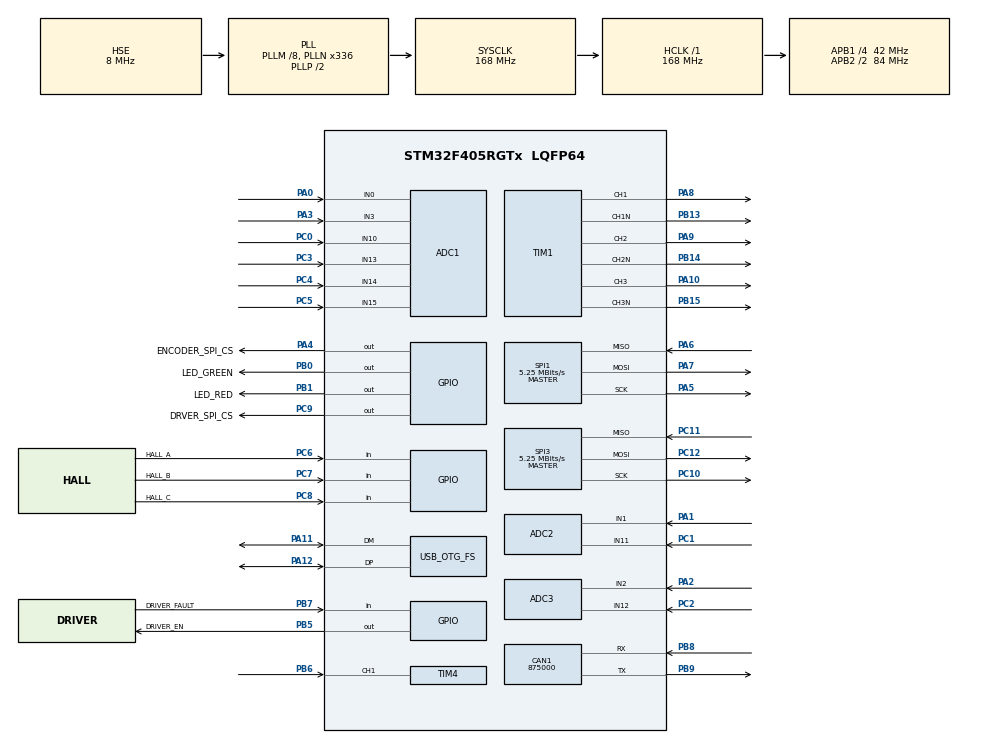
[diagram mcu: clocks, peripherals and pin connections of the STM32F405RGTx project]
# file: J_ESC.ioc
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ADC1.Channel-0\#ChannelRegularConversion=ADC_CHANNEL_3
ADC1.Channel-1\#ChannelInjectedConversion=ADC_CHANNEL_10
ADC1.Channel-2\#ChannelInjectedConversion=ADC_CHANNEL_0
ADC1.Channel-3\#ChannelRegularConversion=ADC_CHANNEL_13
ADC1.Channel-4\#ChannelRegularConversion=ADC_CHANNEL_14
ADC1.Channel-5\#ChannelRegularConversion=ADC_CHANNEL_15
ADC1.ContinuousConvMode=ENABLE
ADC1.DMAContinuousRequests=ENABLE
ADC1.EOCSelection=ADC_EOC_SEQ_CONV
ADC1.ExternalTrigInjecConv=ADC_EXTERNALTRIGINJECCONV_T8_CC4
ADC1.InjNumberOfConversion=2
ADC1.InjectedOffset-1\#ChannelInjectedConversion=0
ADC1.InjectedOffset-2\#ChannelInjectedConversion=0
ADC1.InjectedRank-1\#ChannelInjectedConversion=1
ADC1.InjectedRank-2\#ChannelInjectedConversion=2
ADC1.Mode=ADC_TRIPLEMODE_INJECSIMULT
ADC1.NbrOfConversion=4
ADC1.NbrOfConversionFlag=1
ADC1.Rank-0\#ChannelRegularConversion=1
ADC1.Rank-3\#ChannelRegularConversion=2
ADC1.Rank-4\#ChannelRegularConversion=3
ADC1.Rank-5\#ChannelRegularConversion=4
ADC1.SamplingTime-0\#ChannelRegularConversion=ADC_SAMPLETIME_15CYCLES
ADC1.SamplingTime-1\#ChannelInjectedConversion=ADC_SAMPLETIME_15CYCLES
ADC1.SamplingTime-2\#ChannelInjectedConversion=ADC_SAMPLETIME_15CYCLES
ADC1.SamplingTime-3\#ChannelRegularConversion=ADC_SAMPLETIME_15CYCLES
ADC1.SamplingTime-4\#ChannelRegularConversion=ADC_SAMPLETIME_15CYCLES
ADC1.SamplingTime-5\#ChannelRegularConversion=ADC_SAMPLETIME_15CYCLES
ADC1.ScanConvMode=ENABLE
ADC1.master=1
ADC2.Channel-0\#ChannelRegularConversion=ADC_CHANNEL_1
ADC2.Channel-1\#ChannelInjectedConversion=ADC_CHANNEL_11
ADC2.Channel-2\#ChannelInjectedConversion=ADC_CHANNEL_1
ADC2.DMAContinuousRequests=DISABLE
ADC2.EOCSelection=ADC_EOC_SEQ_CONV
ADC2.InjNumberOfConversion=2
ADC2.InjectedOffset-1\#ChannelInjectedConversion=0
ADC2.InjectedOffset-2\#ChannelInjectedConversion=0
ADC2.InjectedRank-1\#ChannelInjectedConversion=1
ADC2.InjectedRank-2\#ChannelInjectedConversion=2
ADC2.Mode=ADC_TRIPLEMODE_INJECSIMULT
ADC2.NbrOfConversionFlag=1
ADC2.Rank-0\#ChannelRegularConversion=1
ADC2.SamplingTime-0\#ChannelRegularConversion=ADC_SAMPLETIME_15CYCLES
ADC2.SamplingTime-1\#ChannelInjectedConversion=ADC_SAMPLETIME_15CYCLES
ADC2.SamplingTime-2\#ChannelInjectedConversion=ADC_SAMPLETIME_15CYCLES
ADC2.ScanConvMode=ENABLE
ADC3.Channel-0\#ChannelRegularConversion=ADC_CHANNEL_2
ADC3.Channel-1\#ChannelInjectedConversion=ADC_CHANNEL_12
ADC3.Channel-2\#ChannelInjectedConversion=ADC_CHANNEL_2
ADC3.DMAContinuousRequests=DISABLE
ADC3.EOCSelection=ADC_EOC_SEQ_CONV
ADC3.InjNumberOfConversion=2
ADC3.InjectedOffset-1\#ChannelInjectedConversion=0
ADC3.InjectedOffset-2\#ChannelInjectedConversion=0
ADC3.InjectedRank-1\#ChannelInjectedConversion=1
ADC3.InjectedRank-2\#ChannelInjectedConversion=2
ADC3.NbrOfConversion=1
ADC3.NbrOfConversionFlag=1
ADC3.Rank-0\#ChannelRegularConversion=1
ADC3.SamplingTime-0\#ChannelRegularConversion=ADC_SAMPLETIME_15CYCLES
ADC3.SamplingTime-1\#ChannelInjectedConversion=ADC_SAMPLETIME_15CYCLES
ADC3.SamplingTime-2\#ChannelInjectedConversion=ADC_SAMPLETIME_15CYCLES
ADC3.ScanConvMode=ENABLE
CAN1.CalculateBaudRate=875000
CAN1.CalculateTimeBit=1142
CAN1.CalculateTimeQuantum=380.95238095238096
Dma.ADC1.0.Direction=DMA_PERIPH_TO_MEMORY
Dma.ADC1.0.FIFOMode=DMA_FIFOMODE_DISABLE
Dma.ADC1.0.Instance=DMA2_Stream4
Dma.ADC1.0.MemDataAlignment=DMA_MDATAALIGN_HALFWORD
Dma.ADC1.0.MemInc=DMA_MINC_ENABLE
Dma.ADC1.0.Mode=DMA_CIRCULAR
Dma.ADC1.0.PeriphDataAlignment=DMA_PDATAALIGN_HALFWORD
Dma.ADC1.0.PeriphInc=DMA_PINC_DISABLE
Dma.ADC1.0.Priority=DMA_PRIORITY_LOW
Dma.Request0=ADC1
Mcu.Family=STM32F4
Mcu.Name=STM32F405RGTx
Mcu.Package=LQFP64
NVIC.ADC_IRQn=true\:0\:0\:false\:false\:true\:true\:true\:true
NVIC.DMA2_Stream4_IRQn=true\:3\:0\:false\:false\:true\:false\:true\:true
NVIC.OTG_FS_IRQn=true\:2\:0\:false\:false\:true\:false\:true\:true
NVIC.PriorityGroup=NVIC_PRIORITYGROUP_4
NVIC.TIM1_UP_TIM10_IRQn=true\:3\:0\:false\:false\:true\:true\:true\:true
NVIC.TIM2_IRQn=true\:1\:0\:false\:false\:true\:true\:true\:true
NVIC.TIM4_IRQn=true\:3\:0\:false\:false\:true\:true\:true\:true
NVIC.TIM8_UP_TIM13_IRQn=true\:3\:0\:false\:false\:true\:true\:true\:true
PA0-WKUP.Signal=ADCx_IN0
PA1.Signal=ADCx_IN1
PA10.Signal=S_TIM1_CH3
PA11.Mode=Device_Only
PA11.Signal=USB_OTG_FS_DM
PA12.Mode=Device_Only
PA12.Signal=USB_OTG_FS_DP
PA13.Mode=Serial_Wire
PA13.Signal=SYS_JTMS-SWDIO
PA14.Mode=Serial_Wire
PA14.Signal=SYS_JTCK-SWCLK
PA2.Signal=ADCx_IN2
PA3.Signal=ADCx_IN3
PA4.GPIO_Label=ENCODER_SPI_CS
PA4.PinState=GPIO_PIN_SET
PA4.Signal=GPIO_Output
PA5.Mode=Full_Duplex_Master
PA5.Signal=SPI1_SCK
PA6.Mode=Full_Duplex_Master
PA6.Signal=SPI1_MISO
PA7.Mode=Full_Duplex_Master
PA7.Signal=SPI1_MOSI
PA8.Signal=S_TIM1_CH1
PA9.Signal=S_TIM1_CH2
PB0.GPIO_Label=LED_GREEN
PB0.Signal=GPIO_Output
PB1.GPIO_Label=LED_RED
PB1.Signal=GPIO_Output
PB13.Mode=PWM Generation1 CH1 CH1N
PB13.Signal=TIM1_CH1N
PB14.Mode=PWM Generation2 CH2 CH2N
PB14.Signal=TIM1_CH2N
PB15.Mode=PWM Generation3 CH3 CH3N
PB15.Signal=TIM1_CH3N
PB5.GPIO_Label=DRIVER_EN
PB5.Signal=GPIO_Output
PB6.Signal=S_TIM4_CH1
PB7.GPIO_Label=DRIVER_FAULT
PB7.Signal=GPIO_Input
PB8.Mode=CAN_Activate
PB8.Signal=CAN1_RX
PB9.Mode=CAN_Activate
PB9.Signal=CAN1_TX
PC0.Signal=ADCx_IN10
PC1.Signal=ADCx_IN11
PC10.Mode=Full_Duplex_Master
PC10.Signal=SPI3_SCK
PC11.Mode=Full_Duplex_Master
PC11.Signal=SPI3_MISO
PC12.Mode=Full_Duplex_Master
PC12.Signal=SPI3_MOSI
PC2.Signal=ADCx_IN12
PC3.Signal=ADCx_IN13
PC4.Signal=ADCx_IN14
PC5.Signal=ADCx_IN15
PC6.GPIO_Label=HALL_A
PC6.Signal=GPIO_Input
PC7.GPIO_Label=HALL_B
PC7.Signal=GPIO_Input
PC8.GPIO_Label=HALL_C
PC8.Signal=GPIO_Input
PC9.GPIO_Label=DRVER_SPI_CS
PC9.PinState=GPIO_PIN_SET
PC9.Signal=GPIO_Output
PH0-OSC_IN.Mode=HSE-External-Oscillator
PH0-OSC_IN.Signal=RCC_OSC_IN
PH1-OSC_OUT.Mode=HSE-External-Oscillator
PH1-OSC_OUT.Signal=RCC_OSC_OUT
ProjectManager.HeapSize=0x200
ProjectManager.StackSize=0x400
ProjectManager.TargetToolchain=CMake
RCC.48MHZClocksFreq_Value=48000000
RCC.AHBFreq_Value=168000000
RCC.APB1CLKDivider=RCC_HCLK_DIV4
RCC.APB1Freq_Value=42000000
RCC.APB1TimFreq_Value=84000000
RCC.APB2CLKDivider=RCC_HCLK_DIV2
RCC.APB2Freq_Value=84000000
RCC.APB2TimFreq_Value=168000000
RCC.CortexFreq_Value=168000000
RCC.HCLKFreq_Value=168000000
RCC.HSE_VALUE=8000000
RCC.HSI_VALUE=16000000
RCC.LSE_VALUE=32768
RCC.PLLM=8
RCC.PLLN=336
RCC.PLLQ=7
RCC.SYSCLKFreq_VALUE=168000000
RCC.SYSCLKSource=RCC_SYSCLKSOURCE_PLLCLK
RCC.VCOOutputFreq_Value=336000000
SH.ADCx_IN0.0=ADC1_IN0,IN0
SH.ADCx_IN1.0=ADC2_IN1,IN1
SH.ADCx_IN10.0=ADC1_IN10,IN10
SH.ADCx_IN11.0=ADC2_IN11,IN11
SH.ADCx_IN12.0=ADC3_IN12,IN12
SH.ADCx_IN13.0=ADC1_IN13,IN13
SH.ADCx_IN14.0=ADC2_IN14
SH.ADCx_IN14.1=ADC1_IN14,IN14
SH.ADCx_IN15.0=ADC2_IN15
SH.ADCx_IN15.1=ADC1_IN15,IN15
SH.ADCx_IN2.0=ADC3_IN2,IN2
SH.ADCx_IN3.0=ADC1_IN3,IN3
SH.S_TIM1_CH1.0=TIM1_CH1,PWM Generation1 CH1 CH1N
SH.S_TIM1_CH2.0=TIM1_CH2,PWM Generation2 CH2 CH2N
SH.S_TIM1_CH3.0=TIM1_CH3,PWM Generation3 CH3 CH3N
SH.S_TIM4_CH1.0=TIM4_CH1,PWM_Input_1
SPI1.BaudRatePrescaler=SPI_BAUDRATEPRESCALER_16
SPI1.CLKPhase=SPI_PHASE_2EDGE
SPI1.CalculateBaudRate=5.25 MBits/s
SPI1.DataSize=SPI_DATASIZE_16BIT
SPI1.Direction=SPI_DIRECTION_2LINES
SPI1.Mode=SPI_MODE_MASTER
SPI1.VirtualType=VM_MASTER
SPI3.BaudRatePrescaler=SPI_BAUDRATEPRESCALER_8
SPI3.CLKPhase=SPI_PHASE_2EDGE
SPI3.CalculateBaudRate=5.25 MBits/s
SPI3.DataSize=SPI_DATASIZE_16BIT
SPI3.Direction=SPI_DIRECTION_2LINES
SPI3.Mode=SPI_MODE_MASTER
SPI3.VirtualType=VM_MASTER
TIM1.AutoReloadPreload=TIM_AUTORELOAD_PRELOAD_ENABLE
TIM1.AutomaticOutput=TIM_AUTOMATICOUTPUT_ENABLE
TIM1.Channel-PWM\ Generation1\ CH1\ CH1N=TIM_CHANNEL_1
TIM1.Channel-PWM\ Generation2\ CH2\ CH2N=TIM_CHANNEL_2
TIM1.Channel-PWM\ Generation3\ CH3\ CH3N=TIM_CHANNEL_3
TIM1.CounterMode=TIM_COUNTERMODE_CENTERALIGNED1
TIM1.DeadTime=__LL_TIM_CALC_DEADTIME(BOARD_PWM_TIM_CLK_FREQ, TIM_CLOCKDIVISION_DIV1, BOARD_PWM_DEAD_TIME_NS)
TIM1.Period=BOARD_PWM_TIM_RELOAD
TIM1.Prescaler=BOARD_PWM_TIM_PRESCALER - 1
TIM1.TIM_MasterOutputTrigger=TIM_TRGO_ENABLE
TIM1.TIM_MasterSlaveMode=TIM_MASTERSLAVEMODE_DISABLE
TIM2.AutoReloadPreload=TIM_AUTORELOAD_PRELOAD_ENABLE
TIM2.Period=BOARD_RT_TIM_RELOAD
TIM2.Prescaler=BOARD_RT_TIM_PRESCALER - 1
TIM4.Prescaler=28 - 1
TIM8.AutoReloadPreload=TIM_AUTORELOAD_PRELOAD_ENABLE
TIM8.AutomaticOutput=TIM_AUTOMATICOUTPUT_ENABLE
TIM8.Channel-PWM\ Generation4\ No\ Output=TIM_CHANNEL_4
TIM8.CounterMode=TIM_COUNTERMODE_CENTERALIGNED1
TIM8.Period=BOARD_HRT_TIM_RELOAD
TIM8.Prescaler=BOARD_HRT_TIM_PRESCALER - 1
TIM8.Pulse-PWM\ Generation4\ No\ Output=BOARD_ADC_TRIGGER_COMPARE
TIM8.TIM_MasterOutputTrigger=TIM_TRGO_UPDATE
USB_DEVICE.CLASS_NAME_FS=CDC
USB_DEVICE.VirtualMode-CDC_FS=Cdc
USB_DEVICE.VirtualModeFS=Cdc_FS
USB_OTG_FS.VirtualMode=Device_Only
VP_RNG_VS_RNG.Mode=RNG_Activate
VP_TIM1_VS_ClockSourceINT.Mode=Internal
VP_TIM2_VS_ClockSourceINT.Mode=Internal
VP_TIM4_VS_ClockSourceINT.Mode=Internal
VP_TIM8_VS_ClockSourceINT.Mode=Internal
VP_TIM8_VS_ClockSourceITR.Mode=TriggerSource_ITR0
VP_TIM8_VS_ControllerModeTrigger.Mode=Trigger Mode
VP_TIM8_VS_no_output4.Mode=PWM Generation4 No Output
VP_USB_DEVICE_VS_USB_DEVICE_CDC_FS.Mode=CDC_FS
board=custom

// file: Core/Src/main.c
/* USER CODE BEGIN Header */
/**
  ******************************************************************************
  * @file           : main.c
  * @brief          : Main program body
  ******************************************************************************
  * @attention
  *
  * Copyright (c) 2026 STMicroelectronics.
  * All rights reserved.
  *
  * This software is licensed under terms that can be found in the LICENSE file
  * in the root directory of this software component.
  * If no LICENSE file comes with this software, it is provided AS-IS.
  *
  ******************************************************************************
  */
/* USER CODE END Header */
#include "main.h"
#include "adc.h"
#include "can.h"
#include "dma.h"
#include "rng.h"
#include "spi.h"
#include "tim.h"
#include "usb_device.h"
#include "gpio.h"

/* USER CODE BEGIN Includes */
#include "global.h"
#include "config_storage.h"
#include "od_cdc.h"
#include "realtime.h"
#include "stm32f4xx_ll_tim.h"
/* USER CODE END Includes */

void SystemClock_Config(void);

/* USER CODE BEGIN 0 */

void DWT_Init(void)
{
  /* Application timing must also work after a cold boot without a debugger.
   * J-Link may clear trace/counter enables on detach. Preserve CYCCNT on
   * recovery and invalidate interval baselines before interrupts resume. */
  uint32_t saved_primask = __get_PRIMASK();
  __disable_irq();
  CoreDebug->DEMCR |= CoreDebug_DEMCR_TRCENA_Msk;
  DWT->CTRL |= DWT_CTRL_CYCCNTENA_Msk;
  __DSB();
  __ISB();
  Debug_Timing_Rebase();
  __set_PRIMASK(saved_primask);
}

/* USER CODE END 0 */

int main(void)
{

  /* MCU Configuration--------------------------------------------------------*/

  /* Reset of all peripherals, Initializes the Flash interface and the Systick. */
  HAL_Init();

  /* Configure the system clock */
  SystemClock_Config();

  /* Initialize all configured peripherals */
  MX_GPIO_Init();
  MX_DMA_Init();
  MX_ADC1_Init();
  MX_ADC2_Init();
  MX_ADC3_Init();
  MX_CAN1_Init();
  MX_SPI1_Init();
  MX_SPI3_Init();
  MX_TIM1_Init();
  MX_TIM4_Init();
  MX_TIM8_Init();
  MX_USB_DEVICE_Init();
  MX_TIM2_Init();
  MX_RNG_Init();
  /* USER CODE BEGIN 2 */
  // stop time when debug
  DBGMCU->APB2FZ |= DBGMCU_APB2_FZ_DBG_TIM1_STOP;
  DBGMCU->APB2FZ |= DBGMCU_APB2_FZ_DBG_TIM8_STOP;

  global_init_default();
  DWT_Init();
  /* Invalid/absent records leave the existing defaults unchanged. */
  (void)config_storage_load();
  motor_init();
  encoder_init();
  if (od_cdc_init() != OD_OK)
  {
    Error_Handler();
  }
  high_realtime_init();
  realtime_init();
  /* USER CODE END 2 */

  /* Infinite loop */
  while (1)
  {

    /* USER CODE BEGIN 3 */
    if (((CoreDebug->DEMCR & CoreDebug_DEMCR_TRCENA_Msk) == 0U) ||
        ((DWT->CTRL & DWT_CTRL_CYCCNTENA_Msk) == 0U))
    {
      DWT_Init();
    }
    none_realtime_callback();
    od_cdc_poll();
  }
  /* USER CODE END 3 */
}

void SystemClock_Config(void)
{
  RCC_OscInitTypeDef RCC_OscInitStruct = {0};
  RCC_ClkInitTypeDef RCC_ClkInitStruct = {0};

  /** Configure the main internal regulator output voltage
  */
  __HAL_RCC_PWR_CLK_ENABLE();
  __HAL_PWR_VOLTAGESCALING_CONFIG(PWR_REGULATOR_VOLTAGE_SCALE1);

  /** Initializes the RCC Oscillators according to the specified parameters
  * in the RCC_OscInitTypeDef structure.
  */
  RCC_OscInitStruct.OscillatorType = RCC_OSCILLATORTYPE_HSE;
  RCC_OscInitStruct.HSEState = RCC_HSE_ON;
  RCC_OscInitStruct.PLL.PLLState = RCC_PLL_ON;
  RCC_OscInitStruct.PLL.PLLSource = RCC_PLLSOURCE_HSE;
  RCC_OscInitStruct.PLL.PLLM = 8;
  RCC_OscInitStruct.PLL.PLLN = 336;
  RCC_OscInitStruct.PLL.PLLP = RCC_PLLP_DIV2;
  RCC_OscInitStruct.PLL.PLLQ = 7;
  if (HAL_RCC_OscConfig(&RCC_OscInitStruct) != HAL_OK)
  {
    Error_Handler();
  }

  /** Initializes the CPU, AHB and APB buses clocks
  */
  RCC_ClkInitStruct.ClockType = RCC_CLOCKTYPE_HCLK|RCC_CLOCKTYPE_SYSCLK
                              |RCC_CLOCKTYPE_PCLK1|RCC_CLOCKTYPE_PCLK2;
  RCC_ClkInitStruct.SYSCLKSource = RCC_SYSCLKSOURCE_PLLCLK;
  RCC_ClkInitStruct.AHBCLKDivider = RCC_SYSCLK_DIV1;
  RCC_ClkInitStruct.APB1CLKDivider = RCC_HCLK_DIV4;
  RCC_ClkInitStruct.APB2CLKDivider = RCC_HCLK_DIV2;

  if (HAL_RCC_ClockConfig(&RCC_ClkInitStruct, FLASH_LATENCY_5) != HAL_OK)
  {
    Error_Handler();
  }
}

void Error_Handler(void)
{
  __disable_irq();
  while (1)
  {
  }
}
